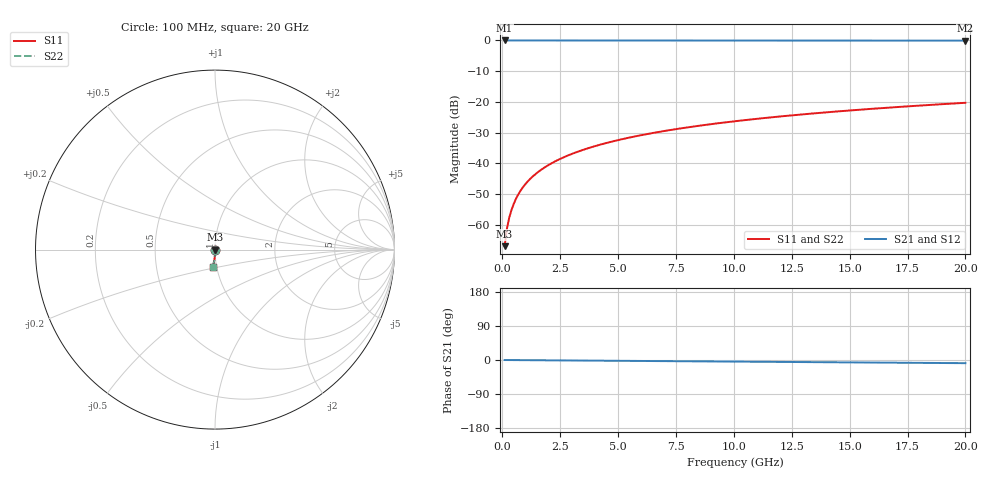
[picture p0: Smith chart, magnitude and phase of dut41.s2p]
! Touchstone file exported from HFSS 2026.1.0
!  File:  C:/ffzhzh/LocalFiles/Ansys_Project_Files/temp_train_TSV_41_1782958590_45308.aedt
!  Generated:  10:17:42 AM Jul  2, 2026
!  Design:  TSV
!  Project:  temp_train_TSV_41_1782958590_45308
! Variables:
!  h_bsmrdl = 2um
!  h_ox = 20um
!  h_rdl = 5um
!  h_sub = 67.59um
!  h_tmrdl = 5um
!  h_tsv = 67.59um
!  h_via = 3um
!  l_bsmrdl = 300um
!  l_sub = 417.36um
!  l_tmrdl = 200um
!  m_sub = 200um
!  pitch = 20.48um
!  r_tsv = 8.68um
!  s_tmrdl = 10um
!  w_bsmrdl = 18um
!  w_sub = 500um
!  w_tmrdl = 12um
!  x_tsv_center1 = 206um
!  x_tsv_center2 = 524um
!  x_tsv_center3 = 736um
!  x_tsv_center4 = 1054um
!  x_tsv_center5 = 1266um
!  x_tsv_center6 = 1584um
# GHz S MA R 50.000000
! Terminal data exported
! Port[1] = TSV1_1_T1
! Port[2] = TSV1_1_T2
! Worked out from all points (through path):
!   200 points, 100 MHz to 20 GHz, reference 50 ohm
!   highest |S21| = 0.00 dB at 100 MHz (marker M1); lowest = -0.1 dB at 20 GHz (marker M2)
!   group delay of S21, straight-line fit = 1.16 ps
!   lowest |S11| = -67.0 dB at 100 MHz (marker M3), VSWR 1.00, Z = 50 - j0.0418 ohm
!   |S11| at or under -10 dB: start of sweep to end of sweep
!   |S22| runs from -67.0 to -20.3 dB; largest |S21 - S12| = 4e-15
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0.1  0.0004475 -69.2  0.9998 -0.0  0.9998 -0.0  0.0004475 -69.2
! Gamma 0 0 0 0
! Port Impedance 50 0 50 0
0.2  0.000864 -77.8  0.9998 -0.1  0.9998 -0.1  0.000864 -77.8
0.3  0.001301 -80.5  0.9998 -0.1  0.9998 -0.1  0.001301 -80.5
0.4  0.001753 -81.8  0.9997 -0.2  0.9997 -0.2  0.001753 -81.8
0.5  0.002215 -82.6  0.9997 -0.2  0.9997 -0.2  0.002215 -82.6
0.7  0.00316 -83.8  0.9996 -0.3  0.9996 -0.3  0.00316 -83.8
0.8  0.003637 -84.3  0.9996 -0.4  0.9996 -0.4  0.003637 -84.3
1  0.004596 -85.2  0.9996 -0.4  0.9996 -0.4  0.004596 -85.2
1.2  0.005556 -85.8  0.9995 -0.5  0.9995 -0.5  0.005556 -85.8
1.4  0.006517 -86.4  0.9995 -0.6  0.9995 -0.6  0.006517 -86.4
1.7  0.007956 -87.0  0.9994 -0.7  0.9994 -0.7  0.007956 -87.0
2  0.009396 -87.5  0.9994 -0.9  0.9994 -0.9  0.009396 -87.5
2.7  0.01276 -88.3  0.9993 -1.2  0.9993 -1.2  0.01276 -88.4
3.5  0.01661 -89.0  0.9992 -1.5  0.9992 -1.5  0.01661 -89.0
4.2  0.01999 -89.5  0.999 -1.8  0.999 -1.8  0.01999 -89.5
5  0.02386 -90.0  0.9989 -2.1  0.9989 -2.1  0.02386 -90.0
6.8  0.0326 -91.1  0.9984 -2.9  0.9984 -2.9  0.0326 -91.1
8.3  0.0399 -91.9  0.9981 -3.5  0.9981 -3.5  0.0399 -91.9
10.1  0.04866 -92.8  0.9975 -4.3  0.9975 -4.3  0.04866 -92.8
13.4  0.06469 -94.3  0.9964 -5.6  0.9964 -5.6  0.06469 -94.3
16.7  0.08067 -95.8  0.9951 -7.0  0.9951 -7.0  0.08067 -95.8
20  0.09659 -97.3  0.9935 -8.4  0.9935 -8.4  0.09659 -97.3
